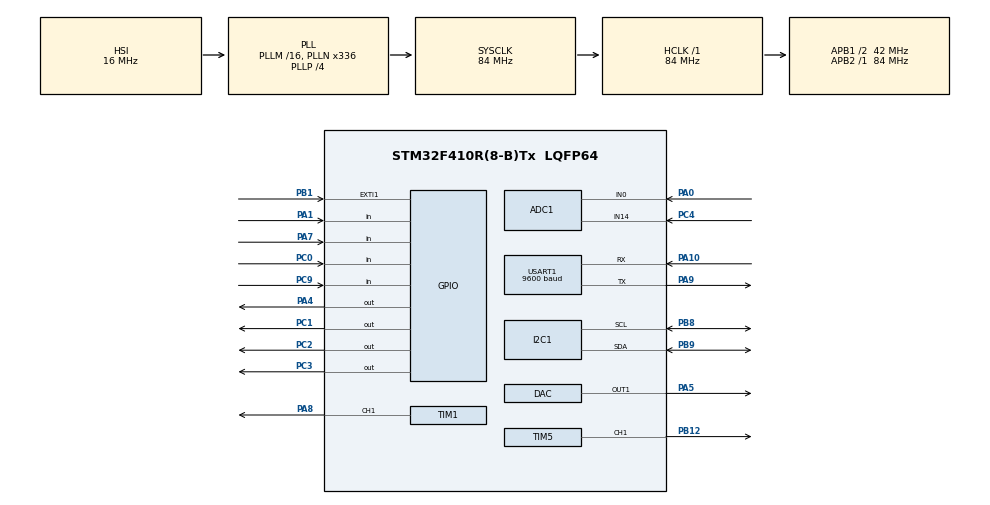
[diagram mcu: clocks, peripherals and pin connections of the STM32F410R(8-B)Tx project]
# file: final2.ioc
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ADC1.Channel-0\#ChannelRegularConversion=ADC_CHANNEL_0
ADC1.ContinuousConvMode=ENABLE
ADC1.NbrOfConversionFlag=1
ADC1.Rank-0\#ChannelRegularConversion=1
ADC1.SamplingTime-0\#ChannelRegularConversion=ADC_SAMPLETIME_3CYCLES
ADC1.ScanConvMode=ENABLE
ADC1.master=1
Mcu.Family=STM32F4
Mcu.Name=STM32F410R(8-B)Tx
Mcu.Package=LQFP64
NVIC.EXTI1_IRQn=true\:0\:0\:false\:false\:true\:true\:true\:true
NVIC.PriorityGroup=NVIC_PRIORITYGROUP_0
NVIC.USART1_IRQn=true\:0\:0\:false\:false\:true\:true\:true\:true
PA0-WKUP.Signal=ADCx_IN0
PA1.Signal=GPIO_Input
PA10.GPIO_PuPd=GPIO_PULLUP
PA10.Mode=Asynchronous
PA10.Signal=USART1_RX
PA13.GPIO_Label=TMS
PA13.Mode=Serial_Wire
PA13.Signal=SYS_JTMS-SWDIO
PA14.GPIO_Label=TCK
PA14.Mode=Serial_Wire
PA14.Signal=SYS_JTCK-SWCLK
PA4.Signal=GPIO_Output
PA5.Signal=COMP_DAC1_group
PA7.Signal=GPIO_Input
PA8.Signal=S_TIM1_CH1
PA9.Mode=Asynchronous
PA9.Signal=USART1_TX
PB1.Signal=GPXTI1
PB12.Signal=S_TIM5_CH1
PB8.Mode=I2C
PB8.Signal=I2C1_SCL
PB9.Mode=I2C
PB9.Signal=I2C1_SDA
PC0.Signal=GPIO_Input
PC1.Signal=GPIO_Output
PC2.Signal=GPIO_Output
PC3.Signal=GPIO_Output
PC4.Signal=ADCx_IN14
PC9.Signal=GPIO_Input
PH0\ -\ OSC_IN.Mode=HSE-External-Oscillator
PH0\ -\ OSC_IN.Signal=RCC_OSC_IN
PH1\ -\ OSC_OUT.Mode=HSE-External-Oscillator
PH1\ -\ OSC_OUT.Signal=RCC_OSC_OUT
ProjectManager.HeapSize=0x200
ProjectManager.StackSize=0x400
ProjectManager.TargetToolchain=STM32CubeIDE
RCC.48MHZClocksFreq_Value=84000000
RCC.AHBFreq_Value=84000000
RCC.APB1CLKDivider=RCC_HCLK_DIV2
RCC.APB1Freq_Value=42000000
RCC.APB1TimFreq_Value=84000000
RCC.APB2Freq_Value=84000000
RCC.APB2TimFreq_Value=84000000
RCC.CortexFreq_Value=84000000
RCC.FLatency-AdvancedSettings=FLASH_LATENCY_2
RCC.HCLKFreq_Value=84000000
RCC.HSE_VALUE=8000000
RCC.HSI_VALUE=16000000
RCC.LSE_VALUE=32768
RCC.PLLN=336
RCC.PLLP=RCC_PLLP_DIV4
RCC.SYSCLKFreq_VALUE=84000000
RCC.SYSCLKSource=RCC_SYSCLKSOURCE_PLLCLK
RCC.VCOOutputFreq_Value=336000000
SH.ADCx_IN0.0=ADC1_IN0,IN0
SH.ADCx_IN14.0=ADC1_IN14,IN14
SH.COMP_DAC1_group.0=DAC_OUT1,DAC_OUT1
SH.S_TIM1_CH1.0=TIM1_CH1,PWM Generation1 CH1
SH.S_TIM5_CH1.0=TIM5_CH1,PWM Generation1 CH1
TIM1.Channel-PWM\ Generation1\ CH1=TIM_CHANNEL_1
TIM1.Period=8399
TIM1.Prescaler=1
TIM5.Channel-PWM\ Generation1\ CH1=TIM_CHANNEL_1
TIM5.Period=4095
TIM5.Prescaler=2
USART1.BaudRate=9600
USART1.VirtualMode=VM_ASYNC
VP_TIM1_VS_ClockSourceINT.Mode=Internal
VP_TIM5_VS_ClockSourceINT.Mode=Internal
board=NUCLEO-F410RB

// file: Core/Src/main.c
/* USER CODE BEGIN Header */
/**
  ******************************************************************************
  * @file           : main.c
  * @brief          : Main program body
  ******************************************************************************
  * @attention
  *
  * Copyright (c) 2023 STMicroelectronics.
  * All rights reserved.
  *
  * This software is licensed under terms that can be found in the LICENSE file
  * in the root directory of this software component.
  * If no LICENSE file comes with this software, it is provided AS-IS.
  *
  ******************************************************************************
  */
/* USER CODE END Header */
#include "main.h"

/* USER CODE BEGIN Includes */
#include "i2c-lcd.h"

/* USER CODE END Includes */

ADC_HandleTypeDef hadc1;

DAC_HandleTypeDef hdac;

I2C_HandleTypeDef hi2c1;

TIM_HandleTypeDef htim1;
TIM_HandleTypeDef htim5;

UART_HandleTypeDef huart1;

/* USER CODE BEGIN PV */
uint8_t rxData;
uint16_t adc1;
int adc2;
uint16_t sicaklik1,sicaklik2,sicaklik3;
float gerilim,pwmdeger=0;
char *veri1;
uint16_t gerilim2,deger1,deger3,deger2,fark;
double i;
int a=0;
int b=0;
int c=0;
int x=0;
int y=0;
int z=0;
int xyz=0;
int zyx=0;
int pwm = 0; //bura
/* USER CODE END PV */

void SystemClock_Config(void);
static void MX_GPIO_Init(void);
static void MX_ADC1_Init(void);
static void MX_I2C1_Init(void);
static void MX_TIM5_Init(void);
static void MX_TIM1_Init(void);
static void MX_DAC_Init(void);
static void MX_USART1_UART_Init(void);

int main(void)
{
  /* USER CODE BEGIN 1 */

	int duty_c;

  /* USER CODE END 1 */

  /* MCU Configuration--------------------------------------------------------*/

  /* Reset of all peripherals, Initializes the Flash interface and the Systick. */
  HAL_Init();

  /* Configure the system clock */
  SystemClock_Config();

  /* Initialize all configured peripherals */
  MX_GPIO_Init();
  MX_ADC1_Init();
  MX_I2C1_Init();
  MX_TIM5_Init();
  MX_TIM1_Init();
  MX_DAC_Init();
  MX_USART1_UART_Init();
  /* USER CODE BEGIN 2 */
  HAL_UART_Receive_IT(&huart1,&rxData,1);
  HAL_DAC_Start(&hdac, DAC_CHANNEL_1);
  HAL_TIM_PWM_Start(&htim1, TIM_CHANNEL_1);
  HAL_TIM_PWM_Start(&htim5, TIM_CHANNEL_1);

   lcd_init ();
   lcd_put_cur(0,0);
   lcd_send_string ("GOMULU SISTEMLER");
   lcd_put_cur(1,0);
   lcd_send_string ("FINAL ODEVI");
   HAL_Delay(3000);
   lcd_clear();
   lcd_put_cur(0,0);
   lcd_send_string ("SERKAN T. ARTUT");
   lcd_put_cur(1,0);
   lcd_send_string ("203302039");
   HAL_Delay(4000);
   lcd_clear();
   lcd_put_cur(0,0);
   lcd_send_string ("SISTEM ONLINE");
   lcd_put_cur(1,0);
   lcd_send_string ("HAZIR");
   HAL_Delay(3000);
   lcd_clear();

  /* USER CODE END 2 */

  /* Infinite loop */
  while (1)
  {

    /* USER CODE BEGIN 3 */
	  if (a<1)
	  {
		  if (HAL_GPIO_ReadPin(GPIOC, GPIO_PIN_3))
		  {
			  lcd_clear();
			  lcd_put_cur(0,0);
			  lcd_send_string ("BLUETOOTH AKTIF");
			  HAL_Delay(500);
			  a++;
			  c=1;
			  b=0;
		  }
	  	  }else if (c==0)
	  	  {
		        b=0;
	      }

	  if (b<1)
	  {
		  if (HAL_GPIO_ReadPin(GPIOC, GPIO_PIN_3) == 0 && c == 1)
		  {
			  lcd_clear();
			  lcd_put_cur(0,0);
			  lcd_send_string ("BLUETOOTH PASIF");
			  HAL_Delay(500);
			  b++;
			  a=0;
			  c=0;
		  }
	  }

	  HAL_GPIO_WritePin(GPIOC, GPIO_PIN_2, 0);
	  HAL_DAC_SetValue(&hdac, DAC_CHANNEL_1, DAC_ALIGN_12B_R, 10);
	  HAL_Delay(100);
	  HAL_DAC_SetValue(&hdac, DAC_CHANNEL_1, DAC_ALIGN_12B_R, 500);
	  HAL_Delay(100);
	  HAL_DAC_SetValue(&hdac, DAC_CHANNEL_1, DAC_ALIGN_12B_R, 1500);
	  HAL_Delay(100);
	  HAL_DAC_SetValue(&hdac, DAC_CHANNEL_1, DAC_ALIGN_12B_R, 4000);

	  if(HAL_GPIO_ReadPin(GPIOA, GPIO_PIN_1)== GPIO_PIN_SET) //ldr
	 	  		{
	 	  			HAL_GPIO_WritePin(GPIOA, GPIO_PIN_4, 0);
	 	  		}
	 	  		else
	 	  		{
	 	  			HAL_GPIO_WritePin(GPIOA, GPIO_PIN_4, 1);
	 	  		}

	  __HAL_TIM_SET_COMPARE(&htim1,TIM_CHANNEL_1,8000);

	  if(HAL_GPIO_ReadPin(GPIOC, GPIO_PIN_0)== GPIO_PIN_RESET)  //sarı + b
	  		{
	  			HAL_GPIO_WritePin(GPIOC, GPIO_PIN_1, 0);
	  			__HAL_TIM_SET_COMPARE(&htim1,TIM_CHANNEL_1,0);
	  		}
	  		else
	  		{
	  			HAL_GPIO_WritePin(GPIOC, GPIO_PIN_1, 1);
	  			__HAL_TIM_SET_COMPARE(&htim1,TIM_CHANNEL_1,8000);
	  		}

	  	  if (HAL_GPIO_ReadPin(GPIOA, GPIO_PIN_7)== 1)
	  	  {
	  		  lcd_clear();
	  		  lcd_put_cur(0, 0);
	  		  lcd_send_string("Sicaklik:");
	  		  HAL_ADC_Start(&hadc1);
	  		  HAL_ADC_PollForConversion(&hadc1, 100);
	  		  sicaklik1 = HAL_ADC_GetValue(&hadc1);
	  		  sicaklik2 = (sicaklik1*8.05)/220;
	  		  sicaklik3 = sicaklik1*7;
	  		  lcd_put_cur(0, 11);
	  		  lcd_send_data(48 + (sicaklik2 / 10));
	  		  lcd_send_data(48 + (sicaklik2 % 10));
	  		  lcd_send_string ("C");
	  		  if (sicaklik2 < 40 && sicaklik2 > 25) {
	  			  if (sicaklik2 > 30 && sicaklik2 <= 40) {
	  				  lcd_put_cur(1, 3);
	  				  lcd_send_string("Hava Sicak");
	  				__HAL_TIM_SET_COMPARE(&htim5,TIM_CHANNEL_1,6000);
		  		    } else if (sicaklik2 > 28 && sicaklik2 <= 30) {
		  		    	__HAL_TIM_SET_COMPARE(&htim5,TIM_CHANNEL_1,0);
		  		    	lcd_put_cur(1, 3);
		  		    	lcd_send_string("Hava Iyi");
		  		    } else if (sicaklik2 >= 25 && sicaklik2 <= 28) {
		  		        lcd_put_cur(1, 3);
		  		        lcd_send_string("Hava Soguk");
		  		      __HAL_TIM_SET_COMPARE(&htim5,TIM_CHANNEL_1,0);
		  		    }
		  		} else {
		  			__HAL_TIM_SET_COMPARE(&htim5,TIM_CHANNEL_1,0);
		  		    lcd_put_cur(1, 0);
		  		    lcd_send_string("HATA: Kontrol Et");
		  		}
	  	  }else
	  	    {
	  	      HAL_ADC_Start(&hadc1);
	  	  	  HAL_ADC_PollForConversion(&hadc1, 100);
	  	  	  adc1 = HAL_ADC_GetValue(&hadc1);
	  	  	  adc2 = (adc1*100)/4095;
	  	  	  __HAL_TIM_SET_COMPARE(&htim5,TIM_CHANNEL_1,adc1);
	  	  	  HAL_Delay(50);
	  	      lcd_put_cur(1, 0);
	  	      lcd_send_string("DutyC Orani:");
	  	      if (adc2 <= 100)
	  	      {
	  	    	  if (adc2==100)
	  	    	  {
	  	    		lcd_send_data(' ');
	  	    		lcd_send_string ("%100");
			      }
	  	      else if (adc2 < 10)
	  	      {
	  	        	lcd_send_string ("%0,");
	  	            lcd_send_data(48 + adc2);
	  	      } else
	  	        {
	  	        	lcd_send_data(' ');
	  	        	lcd_send_string ("%");
	  	        	lcd_send_data(' ');
	  	            lcd_send_data(48 + (adc2 / 10));
	  	            lcd_send_data(48 + (adc2 % 10));
	  	        }
	  	      }
	  	      gerilim=adc1*3.0/4095.0;
	  	  	  gerilim2=gerilim*100;
	  	  	  deger1=gerilim2/100;
	  	  	  fark=gerilim2-deger1*100;
	  	  	  deger3=fark/10;
	  	  	  deger2=fark-deger3*10;
	  	  	  lcd_put_cur(0,0);
	  	  	  lcd_send_string ("Motor Volt: ");
	  	  	  lcd_send_data(48+deger1);
	  	  	  lcd_send_string (".");
	  	  	  lcd_send_data(48+deger3);
	  	  	  lcd_send_data(48+deger2);
	  	  	  HAL_Delay(100);
 }
  }
  /* USER CODE END 3 */
}

void SystemClock_Config(void)
{
  RCC_OscInitTypeDef RCC_OscInitStruct = {0};
  RCC_ClkInitTypeDef RCC_ClkInitStruct = {0};

  /** Configure the main internal regulator output voltage
  */
  __HAL_RCC_PWR_CLK_ENABLE();
  __HAL_PWR_VOLTAGESCALING_CONFIG(PWR_REGULATOR_VOLTAGE_SCALE1);

  /** Initializes the RCC Oscillators according to the specified parameters
  * in the RCC_OscInitTypeDef structure.
  */
  RCC_OscInitStruct.OscillatorType = RCC_OSCILLATORTYPE_HSI;
  RCC_OscInitStruct.HSIState = RCC_HSI_ON;
  RCC_OscInitStruct.HSICalibrationValue = RCC_HSICALIBRATION_DEFAULT;
  RCC_OscInitStruct.PLL.PLLState = RCC_PLL_ON;
  RCC_OscInitStruct.PLL.PLLSource = RCC_PLLSOURCE_HSI;
  RCC_OscInitStruct.PLL.PLLM = 16;
  RCC_OscInitStruct.PLL.PLLN = 336;
  RCC_OscInitStruct.PLL.PLLP = RCC_PLLP_DIV4;
  RCC_OscInitStruct.PLL.PLLQ = 4;
  RCC_OscInitStruct.PLL.PLLR = 2;
  if (HAL_RCC_OscConfig(&RCC_OscInitStruct) != HAL_OK)
  {
    Error_Handler();
  }

  /** Initializes the CPU, AHB and APB buses clocks
  */
  RCC_ClkInitStruct.ClockType = RCC_CLOCKTYPE_HCLK|RCC_CLOCKTYPE_SYSCLK
                              |RCC_CLOCKTYPE_PCLK1|RCC_CLOCKTYPE_PCLK2;
  RCC_ClkInitStruct.SYSCLKSource = RCC_SYSCLKSOURCE_PLLCLK;
  RCC_ClkInitStruct.AHBCLKDivider = RCC_SYSCLK_DIV1;
  RCC_ClkInitStruct.APB1CLKDivider = RCC_HCLK_DIV2;
  RCC_ClkInitStruct.APB2CLKDivider = RCC_HCLK_DIV1;

  if (HAL_RCC_ClockConfig(&RCC_ClkInitStruct, FLASH_LATENCY_2) != HAL_OK)
  {
    Error_Handler();
  }
}

static void MX_ADC1_Init(void)
{

  ADC_ChannelConfTypeDef sConfig = {0};

  /** Configure the global features of the ADC (Clock, Resolution, Data Alignment and number of conversion)
  */
  hadc1.Instance = ADC1;
  hadc1.Init.ClockPrescaler = ADC_CLOCK_SYNC_PCLK_DIV4;
  hadc1.Init.Resolution = ADC_RESOLUTION_12B;
  hadc1.Init.ScanConvMode = ENABLE;
  hadc1.Init.ContinuousConvMode = ENABLE;
  hadc1.Init.DiscontinuousConvMode = DISABLE;
  hadc1.Init.ExternalTrigConvEdge = ADC_EXTERNALTRIGCONVEDGE_NONE;
  hadc1.Init.ExternalTrigConv = ADC_SOFTWARE_START;
  hadc1.Init.DataAlign = ADC_DATAALIGN_RIGHT;
  hadc1.Init.NbrOfConversion = 1;
  hadc1.Init.DMAContinuousRequests = DISABLE;
  hadc1.Init.EOCSelection = ADC_EOC_SINGLE_CONV;
  if (HAL_ADC_Init(&hadc1) != HAL_OK)
  {
    Error_Handler();
  }

  /** Configure for the selected ADC regular channel its corresponding rank in the sequencer and its sample time.
  */
  sConfig.Channel = ADC_CHANNEL_0;
  sConfig.Rank = 1;
  sConfig.SamplingTime = ADC_SAMPLETIME_3CYCLES;
  if (HAL_ADC_ConfigChannel(&hadc1, &sConfig) != HAL_OK)
  {
    Error_Handler();
  }

}

static void MX_DAC_Init(void)
{

  DAC_ChannelConfTypeDef sConfig = {0};

  /** DAC Initialization
  */
  hdac.Instance = DAC;
  if (HAL_DAC_Init(&hdac) != HAL_OK)
  {
    Error_Handler();
  }

  /** DAC channel OUT1 config
  */
  sConfig.DAC_Trigger = DAC_TRIGGER_NONE;
  sConfig.DAC_OutputBuffer = DAC_OUTPUTBUFFER_ENABLE;
  if (HAL_DAC_ConfigChannel(&hdac, &sConfig, DAC_CHANNEL_1) != HAL_OK)
  {
    Error_Handler();
  }

}

static void MX_I2C1_Init(void)
{

  hi2c1.Instance = I2C1;
  hi2c1.Init.ClockSpeed = 100000;
  hi2c1.Init.DutyCycle = I2C_DUTYCYCLE_2;
  hi2c1.Init.OwnAddress1 = 0;
  hi2c1.Init.AddressingMode = I2C_ADDRESSINGMODE_7BIT;
  hi2c1.Init.DualAddressMode = I2C_DUALADDRESS_DISABLE;
  hi2c1.Init.OwnAddress2 = 0;
  hi2c1.Init.GeneralCallMode = I2C_GENERALCALL_DISABLE;
  hi2c1.Init.NoStretchMode = I2C_NOSTRETCH_DISABLE;
  if (HAL_I2C_Init(&hi2c1) != HAL_OK)
  {
    Error_Handler();
  }

}

static void MX_TIM1_Init(void)
{

  TIM_ClockConfigTypeDef sClockSourceConfig = {0};
  TIM_MasterConfigTypeDef sMasterConfig = {0};
  TIM_OC_InitTypeDef sConfigOC = {0};
  TIM_BreakDeadTimeConfigTypeDef sBreakDeadTimeConfig = {0};

  htim1.Instance = TIM1;
  htim1.Init.Prescaler = 1;
  htim1.Init.CounterMode = TIM_COUNTERMODE_UP;
  htim1.Init.Period = 8399;
  htim1.Init.ClockDivision = TIM_CLOCKDIVISION_DIV1;
  htim1.Init.RepetitionCounter = 0;
  htim1.Init.AutoReloadPreload = TIM_AUTORELOAD_PRELOAD_DISABLE;
  if (HAL_TIM_Base_Init(&htim1) != HAL_OK)
  {
    Error_Handler();
  }
  sClockSourceConfig.ClockSource = TIM_CLOCKSOURCE_INTERNAL;
  if (HAL_TIM_ConfigClockSource(&htim1, &sClockSourceConfig) != HAL_OK)
  {
    Error_Handler();
  }
  if (HAL_TIM_PWM_Init(&htim1) != HAL_OK)
  {
    Error_Handler();
  }
  sMasterConfig.MasterOutputTrigger = TIM_TRGO_RESET;
  sMasterConfig.MasterSlaveMode = TIM_MASTERSLAVEMODE_DISABLE;
  if (HAL_TIMEx_MasterConfigSynchronization(&htim1, &sMasterConfig) != HAL_OK)
  {
    Error_Handler();
  }
  sConfigOC.OCMode = TIM_OCMODE_PWM1;
  sConfigOC.Pulse = 0;
  sConfigOC.OCPolarity = TIM_OCPOLARITY_HIGH;
  sConfigOC.OCNPolarity = TIM_OCNPOLARITY_HIGH;
  sConfigOC.OCFastMode = TIM_OCFAST_DISABLE;
  sConfigOC.OCIdleState = TIM_OCIDLESTATE_RESET;
  sConfigOC.OCNIdleState = TIM_OCNIDLESTATE_RESET;
  if (HAL_TIM_PWM_ConfigChannel(&htim1, &sConfigOC, TIM_CHANNEL_1) != HAL_OK)
  {
    Error_Handler();
  }
  sBreakDeadTimeConfig.OffStateRunMode = TIM_OSSR_DISABLE;
  sBreakDeadTimeConfig.OffStateIDLEMode = TIM_OSSI_DISABLE;
  sBreakDeadTimeConfig.LockLevel = TIM_LOCKLEVEL_OFF;
  sBreakDeadTimeConfig.DeadTime = 0;
  sBreakDeadTimeConfig.BreakState = TIM_BREAK_DISABLE;
  sBreakDeadTimeConfig.BreakPolarity = TIM_BREAKPOLARITY_HIGH;
  sBreakDeadTimeConfig.AutomaticOutput = TIM_AUTOMATICOUTPUT_DISABLE;
  if (HAL_TIMEx_ConfigBreakDeadTime(&htim1, &sBreakDeadTimeConfig) != HAL_OK)
  {
    Error_Handler();
  }
  HAL_TIM_MspPostInit(&htim1);

}

static void MX_TIM5_Init(void)
{

  TIM_ClockConfigTypeDef sClockSourceConfig = {0};
  TIM_MasterConfigTypeDef sMasterConfig = {0};
  TIM_OC_InitTypeDef sConfigOC = {0};

  htim5.Instance = TIM5;
  htim5.Init.Prescaler = 2;
  htim5.Init.CounterMode = TIM_COUNTERMODE_UP;
  htim5.Init.Period = 4095;
  htim5.Init.ClockDivision = TIM_CLOCKDIVISION_DIV1;
  htim5.Init.AutoReloadPreload = TIM_AUTORELOAD_PRELOAD_DISABLE;
  if (HAL_TIM_Base_Init(&htim5) != HAL_OK)
  {
    Error_Handler();
  }
  sClockSourceConfig.ClockSource = TIM_CLOCKSOURCE_INTERNAL;
  if (HAL_TIM_ConfigClockSource(&htim5, &sClockSourceConfig) != HAL_OK)
  {
    Error_Handler();
  }
  if (HAL_TIM_PWM_Init(&htim5) != HAL_OK)
  {
    Error_Handler();
  }
  sMasterConfig.MasterOutputTrigger = TIM_TRGO_RESET;
  sMasterConfig.MasterSlaveMode = TIM_MASTERSLAVEMODE_DISABLE;
  if (HAL_TIMEx_MasterConfigSynchronization(&htim5, &sMasterConfig) != HAL_OK)
  {
    Error_Handler();
  }
  sConfigOC.OCMode = TIM_OCMODE_PWM1;
  sConfigOC.Pulse = 0;
  sConfigOC.OCPolarity = TIM_OCPOLARITY_HIGH;
  sConfigOC.OCFastMode = TIM_OCFAST_DISABLE;
  if (HAL_TIM_PWM_ConfigChannel(&htim5, &sConfigOC, TIM_CHANNEL_1) != HAL_OK)
  {
    Error_Handler();
  }
  HAL_TIM_MspPostInit(&htim5);

}

static void MX_USART1_UART_Init(void)
{

  huart1.Instance = USART1;
  huart1.Init.BaudRate = 9600;
  huart1.Init.WordLength = UART_WORDLENGTH_8B;
  huart1.Init.StopBits = UART_STOPBITS_1;
  huart1.Init.Parity = UART_PARITY_NONE;
  huart1.Init.Mode = UART_MODE_TX_RX;
  huart1.Init.HwFlowCtl = UART_HWCONTROL_NONE;
  huart1.Init.OverSampling = UART_OVERSAMPLING_16;
  if (HAL_UART_Init(&huart1) != HAL_OK)
  {
    Error_Handler();
  }

}

static void MX_GPIO_Init(void)
{
  GPIO_InitTypeDef GPIO_InitStruct = {0};

  /* GPIO Ports Clock Enable */
  __HAL_RCC_GPIOH_CLK_ENABLE();
  __HAL_RCC_GPIOC_CLK_ENABLE();
  __HAL_RCC_GPIOA_CLK_ENABLE();
  __HAL_RCC_GPIOB_CLK_ENABLE();

  /*Configure GPIO pin Output Level */
  HAL_GPIO_WritePin(GPIOC, GPIO_PIN_1|GPIO_PIN_2|GPIO_PIN_3, GPIO_PIN_RESET);

  /*Configure GPIO pin Output Level */
  HAL_GPIO_WritePin(GPIOA, GPIO_PIN_4, GPIO_PIN_RESET);

  /*Configure GPIO pins : PC0 PC9 */
  GPIO_InitStruct.Pin = GPIO_PIN_0|GPIO_PIN_9;
  GPIO_InitStruct.Mode = GPIO_MODE_INPUT;
  GPIO_InitStruct.Pull = GPIO_NOPULL;
  HAL_GPIO_Init(GPIOC, &GPIO_InitStruct);

  /*Configure GPIO pins : PC1 PC2 PC3 */
  GPIO_InitStruct.Pin = GPIO_PIN_1|GPIO_PIN_2|GPIO_PIN_3;
  GPIO_InitStruct.Mode = GPIO_MODE_OUTPUT_PP;
  GPIO_InitStruct.Pull = GPIO_NOPULL;
  GPIO_InitStruct.Speed = GPIO_SPEED_FREQ_LOW;
  HAL_GPIO_Init(GPIOC, &GPIO_InitStruct);

  /*Configure GPIO pins : PA1 PA7 */
  GPIO_InitStruct.Pin = GPIO_PIN_1|GPIO_PIN_7;
  GPIO_InitStruct.Mode = GPIO_MODE_INPUT;
  GPIO_InitStruct.Pull = GPIO_NOPULL;
  HAL_GPIO_Init(GPIOA, &GPIO_InitStruct);

  /*Configure GPIO pin : PA4 */
  GPIO_InitStruct.Pin = GPIO_PIN_4;
  GPIO_InitStruct.Mode = GPIO_MODE_OUTPUT_PP;
  GPIO_InitStruct.Pull = GPIO_NOPULL;
  GPIO_InitStruct.Speed = GPIO_SPEED_FREQ_LOW;
  HAL_GPIO_Init(GPIOA, &GPIO_InitStruct);

  /*Configure GPIO pin : PB1 */
  GPIO_InitStruct.Pin = GPIO_PIN_1;
  GPIO_InitStruct.Mode = GPIO_MODE_IT_RISING;
  GPIO_InitStruct.Pull = GPIO_NOPULL;
  HAL_GPIO_Init(GPIOB, &GPIO_InitStruct);

  /* EXTI interrupt init*/
  HAL_NVIC_SetPriority(EXTI1_IRQn, 0, 0);
  HAL_NVIC_EnableIRQ(EXTI1_IRQn);

}

/* USER CODE BEGIN 4 */
void HAL_UART_RxCpltCallback(UART_HandleTypeDef *huart)
{
  if(huart->Instance==USART1)
  {
    if(rxData==78) // N  78 ascii
    {
    	HAL_GPIO_WritePin(GPIOC, GPIO_PIN_3, RESET);
    }
    else if (rxData==89)  // Y 89 ascii
    {
    	HAL_GPIO_WritePin(GPIOC, GPIO_PIN_3, SET);
    }
    HAL_UART_Receive_IT(&huart1,&rxData,1);

  }
}
/* USER CODE END 4 */

void Error_Handler(void)
{
  __disable_irq();
  while (1)
  {
  }
}
